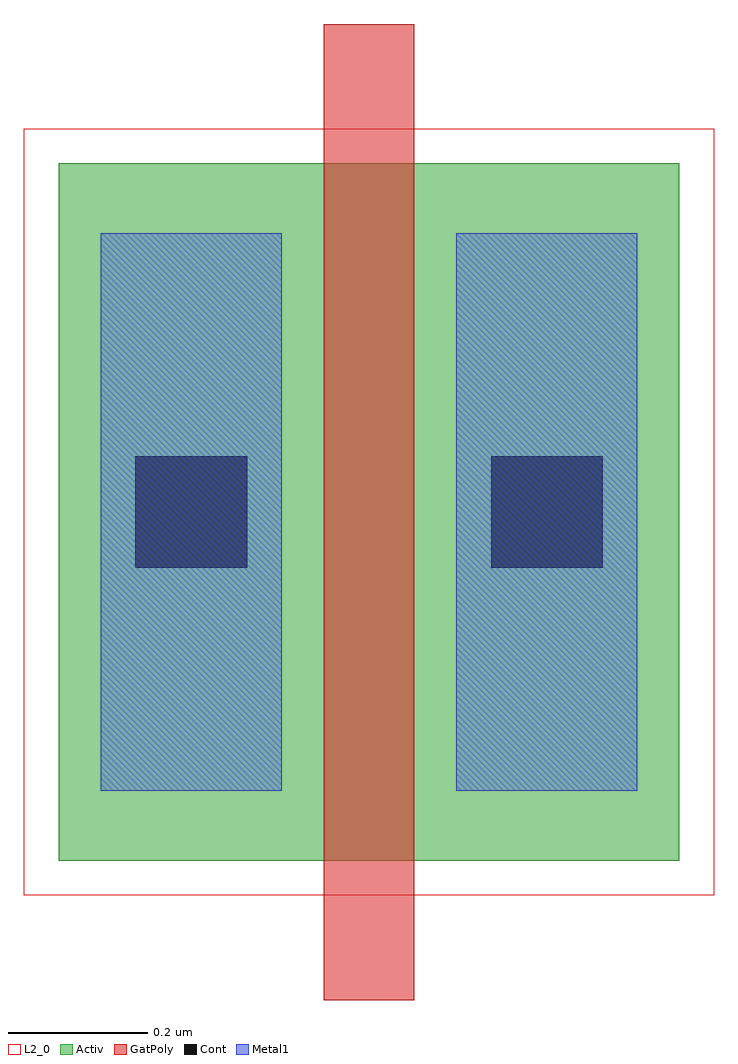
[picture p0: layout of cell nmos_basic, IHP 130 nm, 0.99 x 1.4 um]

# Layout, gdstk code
import gdstk
lib = gdstk.Library(unit=1e-6, precision=1e-09)
def R(c, l, rs):  # rectangles x0, y0, x1, y1
    for r in rs: c.add(gdstk.rectangle(r[:2], r[2:], *l))
Activ = (1, 0)
L2_0 = (2, 0)
GatPoly = (5, 0)
Cont = (6, 0)
Metal1 = (8, 0)

nmos_basic = lib.new_cell('nmos_basic')
R(nmos_basic, Activ, [(-0.445,-0.5,0.445,0.5)])
R(nmos_basic, L2_0, [(-0.495,-0.55,0.495,0.55)])
R(nmos_basic, GatPoly, [(-0.065,-0.7,0.065,0.7)])
R(nmos_basic, Cont, [(-0.335,-0.08,-0.175,0.08), (0.175,-0.08,0.335,0.08)])
R(nmos_basic, Metal1, [(-0.385,-0.4,-0.125,0.4), (0.125,-0.4,0.385,0.4)])

lib.write_gds('nmos_basic.gds')
